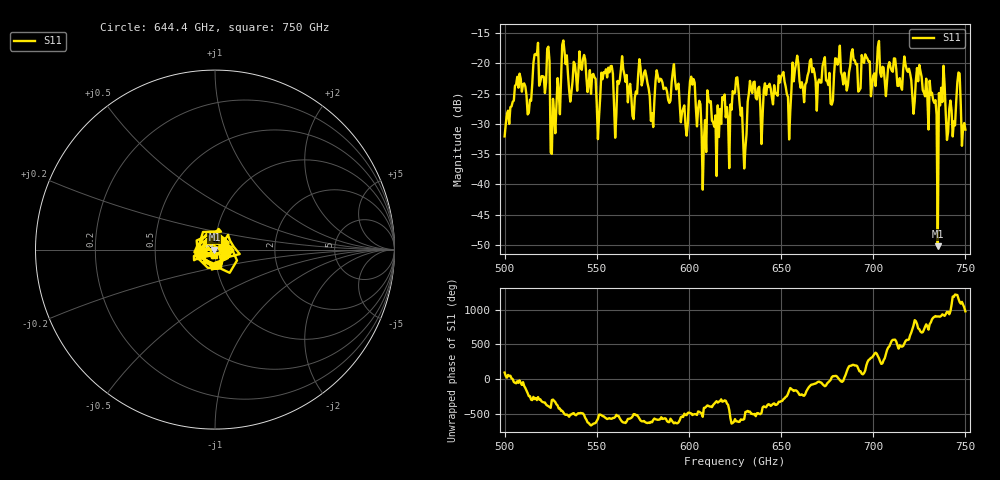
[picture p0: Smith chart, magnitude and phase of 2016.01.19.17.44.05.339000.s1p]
!Created with skrf (http://scikit-rf.org).
# GHz S RI R 50.0
!freq ReS11 ImS11
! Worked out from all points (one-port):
!   401 points, 500 GHz to 750 GHz, reference 50 ohm
!   lowest |S11| = -50.2 dB at 735 GHz (marker M1), VSWR 1.01, Z = 49.7 - j0.0158 ohm
!   |S11| at or under -10 dB: start of sweep to end of sweep
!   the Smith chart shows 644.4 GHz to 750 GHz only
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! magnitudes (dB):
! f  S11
! 500 GHz  -32.1
! 507.5 GHz  -24.0
! 513.8 GHz  -26.0
! 516.9 GHz  -18.4
! 523.1 GHz  -17.6
! 526.2 GHz  -25.9
! 531.2 GHz  -17.0
! 550.6 GHz  -32.5
! 562.5 GHz  -22.8
! 580 GHz  -28.2
! 583.1 GHz  -22.1
! 593.8 GHz  -23.8
! 598.1 GHz  -30.2
! 601.9 GHz  -23.5
! 608.1 GHz  -32.6
! 611.2 GHz  -26.4
! 615 GHz  -38.6
! 625 GHz  -24.8
! 630 GHz  -37.4
! 634.4 GHz  -24.9
! 656.2 GHz  -19.9
! 687.5 GHz  -20.4
! 718.8 GHz  -21.4
! 735 GHz  -50.2
! 737.5 GHz  -26.4
! 743.8 GHz  -29.6
! 746.2 GHz  -21.5
! 750 GHz  -30.9
